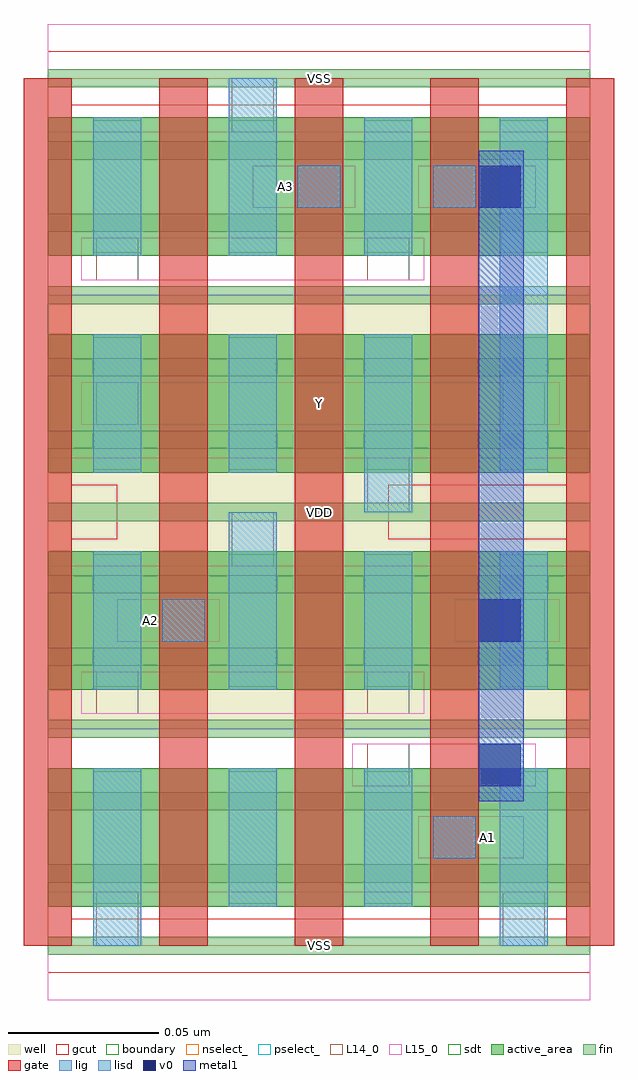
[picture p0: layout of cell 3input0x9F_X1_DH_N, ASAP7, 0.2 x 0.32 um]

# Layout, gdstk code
import gdstk
lib = gdstk.Library(unit=1e-6, precision=1e-09)
def R(c, l, rs):  # rectangles x0, y0, x1, y1
    for r in rs: c.add(gdstk.rectangle(r[:2], r[2:], *l))
def A(c, l, x, y, w, h, nx, ny, dx, dy):  # array of equal rectangles
    R(c, l, [(x+i*dx, y+j*dy, x+i*dx+w, y+j*dy+h) for i in range(nx) for j in range(ny)])
def P(c, l, *ps):  # polygons
    for p in ps: c.add(gdstk.Polygon(p, *l))
well = (1, 0)
fin = (2, 0)
gate = (7, 0)
gcut = (10, 0)
active_area = (11, 0)
nselect_ = (12, 0)
pselect_ = (13, 0)
L14_0 = (14, 0)
L15_0 = (15, 0)
lig = (16, 0)
lisd = (17, 0)
v0 = (18, 0)
metal1 = (19, 0)
sdt = (88, 0)
boundary = (100, 0)

c_3input0x9f_x1_dh_n = lib.new_cell('3input0x9F_X1_DH_N')
R(c_3input0x9f_x1_dh_n, well, [(0,0.072,0.18,0.144), (0,0.144,0.18,0.216)])
A(c_3input0x9f_x1_dh_n, fin, 0, -0.003, 0.18, 0.006, 1, 13, 0, 0.024)
A(c_3input0x9f_x1_dh_n, gate, -0.008, 0, 0.016, 0.288, 5, 1, 0.045, 0)
P(c_3input0x9f_x1_dh_n, gcut, [(0,-0.009),(0,0),(-0.008,0),(-0.008,0.279),(0.008,0.279),(0.008,0.153),(0.023,0.153),(0.023,0.135),(0.008,0.135),(0.008,0.009),(0.172,0.009),(0.172,0.135),(0.113,0.135),(0.113,0.153),(0.172,0.153),(0.172,0.279),(-0.008,0.279),(-0.008,0.288),(0,0.288),(0,0.297),(0.18,0.297),(0.18,0.288),(0.188,0.288),(0.188,0),(0.18,0),(0.18,-0.009)])
A(c_3input0x9f_x1_dh_n, active_area, 0, 0.013, 0.18, 0.046, 1, 4, 0, 0.072)
R(c_3input0x9f_x1_dh_n, nselect_, [(0,0,0.18,0.072), (0,0.216,0.18,0.288)])
R(c_3input0x9f_x1_dh_n, pselect_, [(0,0.072,0.18,0.144), (0,0.144,0.18,0.216)])
R(c_3input0x9f_x1_dh_n, L14_0, [(0.016,0,0.03,0.018), (0.151,0,0.165,0.018), (0.128,0.029,0.142,0.043), (0.106,0.053,0.12,0.067), (0.016,0.077,0.03,0.091), (0.106,0.077,0.12,0.091), (0.038,0.101,0.052,0.115), (0.151,0.101,0.165,0.115), (0.061,0.126,0.075,0.144), (0.106,0.144,0.12,0.162), (0.016,0.173,0.03,0.187), (0.151,0.173,0.165,0.187), (0.016,0.221,0.03,0.235), (0.106,0.221,0.12,0.235), (0.083,0.245,0.097,0.259), (0.128,0.245,0.142,0.259), (0.061,0.27,0.075,0.288)])
A(c_3input0x9f_x1_dh_n, L15_0, 0, -0.018, 0.18, 0.036, 1, 3, 0, 0.144)
R(c_3input0x9f_x1_dh_n, L15_0, [(0.123,0.029,0.158,0.043), (0.101,0.053,0.162,0.067), (0.011,0.077,0.125,0.091), (0.023,0.101,0.057,0.115), (0.135,0.101,0.17,0.115), (0.011,0.173,0.17,0.187), (0.011,0.221,0.125,0.235), (0.068,0.245,0.102,0.259), (0.123,0.245,0.162,0.259)])
R(c_3input0x9f_x1_dh_n, lig, [(0.128,0.029,0.142,0.043), (0.038,0.101,0.052,0.115), (0.083,0.245,0.097,0.259), (0.128,0.245,0.142,0.259)])
A(c_3input0x9f_x1_dh_n, lisd, 0.015, 0.085, 0.016, 0.046, 1, 3, 0, 0.072)
R(c_3input0x9f_x1_dh_n, lisd, [(0.015,0,0.031,0.059), (0.15,0,0.166,0.059), (0.06,0.013,0.076,0.059), (0.105,0.013,0.121,0.059), (0.06,0.085,0.076,0.144), (0.105,0.085,0.121,0.131), (0.15,0.085,0.166,0.131), (0.105,0.144,0.121,0.203), (0.06,0.157,0.076,0.203), (0.15,0.157,0.166,0.275), (0.06,0.229,0.076,0.288), (0.105,0.229,0.121,0.275)])
R(c_3input0x9f_x1_dh_n, v0, [(0.143,0.053,0.157,0.067), (0.143,0.101,0.157,0.115), (0.143,0.245,0.157,0.259)])
R(c_3input0x9f_x1_dh_n, metal1, [(0.143,0.048,0.158,0.264)])
A(c_3input0x9f_x1_dh_n, sdt, 0.015, 0.014, 0.016, 0.044, 4, 4, 0.045, 0.072)
R(c_3input0x9f_x1_dh_n, boundary, [(0,0,0.18,0.288)])
c_3input0x9f_x1_dh_n.add(gdstk.Label('A1', (0.146,0.036), layer=15, texttype=251))
c_3input0x9f_x1_dh_n.add(gdstk.Label('VSS', (0.09,0), layer=15, texttype=251))
c_3input0x9f_x1_dh_n.add(gdstk.Label('VDD', (0.09,0.144), layer=15, texttype=251))
c_3input0x9f_x1_dh_n.add(gdstk.Label('VDD', (0.09,0.144), layer=15, texttype=251))
c_3input0x9f_x1_dh_n.add(gdstk.Label('VSS', (0.09,0.288), layer=15, texttype=251))
c_3input0x9f_x1_dh_n.add(gdstk.Label('Y', (0.09,0.18), layer=15, texttype=251))
c_3input0x9f_x1_dh_n.add(gdstk.Label('VSS', (0.09,0), layer=15, texttype=251))
c_3input0x9f_x1_dh_n.add(gdstk.Label('VDD', (0.09,0.144), layer=15, texttype=251))
c_3input0x9f_x1_dh_n.add(gdstk.Label('VDD', (0.09,0.144), layer=15, texttype=251))
c_3input0x9f_x1_dh_n.add(gdstk.Label('VSS', (0.09,0.288), layer=15, texttype=251))
c_3input0x9f_x1_dh_n.add(gdstk.Label('A3', (0.079,0.252), layer=15, texttype=251))
c_3input0x9f_x1_dh_n.add(gdstk.Label('VSS', (0.09,0), layer=15, texttype=251))
c_3input0x9f_x1_dh_n.add(gdstk.Label('VDD', (0.09,0.144), layer=15, texttype=251))
c_3input0x9f_x1_dh_n.add(gdstk.Label('VDD', (0.09,0.144), layer=15, texttype=251))
c_3input0x9f_x1_dh_n.add(gdstk.Label('VSS', (0.09,0.288), layer=15, texttype=251))
c_3input0x9f_x1_dh_n.add(gdstk.Label('A2', (0.034,0.108), layer=15, texttype=251))
c_3input0x9f_x1_dh_n.add(gdstk.Label('VSS', (0.09,0), layer=15, texttype=251))
c_3input0x9f_x1_dh_n.add(gdstk.Label('VDD', (0.09,0.144), layer=15, texttype=251))
c_3input0x9f_x1_dh_n.add(gdstk.Label('VDD', (0.09,0.144), layer=15, texttype=251))
c_3input0x9f_x1_dh_n.add(gdstk.Label('VSS', (0.09,0.288), layer=15, texttype=251))
c_3input0x9f_x1_dh_n.add(gdstk.Label('VSS', (0.09,0), layer=3, texttype=251))
c_3input0x9f_x1_dh_n.add(gdstk.Label('VSS', (0.09,0.288), layer=3, texttype=251))
c_3input0x9f_x1_dh_n.add(gdstk.Label('VSS', (0.09,0), layer=3, texttype=251))
c_3input0x9f_x1_dh_n.add(gdstk.Label('VSS', (0.09,0.288), layer=3, texttype=251))
c_3input0x9f_x1_dh_n.add(gdstk.Label('VSS', (0.09,0), layer=3, texttype=251))
c_3input0x9f_x1_dh_n.add(gdstk.Label('VSS', (0.09,0.288), layer=3, texttype=251))
c_3input0x9f_x1_dh_n.add(gdstk.Label('VSS', (0.09,0), layer=3, texttype=251))
c_3input0x9f_x1_dh_n.add(gdstk.Label('VSS', (0.09,0.288), layer=3, texttype=251))
c_3input0x9f_x1_dh_n.add(gdstk.Label('VDD', (0.09,0.144), layer=1, texttype=251))
c_3input0x9f_x1_dh_n.add(gdstk.Label('VDD', (0.09,0.144), layer=1, texttype=251))
c_3input0x9f_x1_dh_n.add(gdstk.Label('VDD', (0.09,0.144), layer=1, texttype=251))
c_3input0x9f_x1_dh_n.add(gdstk.Label('VDD', (0.09,0.144), layer=1, texttype=251))
c_3input0x9f_x1_dh_n.add(gdstk.Label('VDD', (0.09,0.144), layer=1, texttype=251))
c_3input0x9f_x1_dh_n.add(gdstk.Label('VDD', (0.09,0.144), layer=1, texttype=251))
c_3input0x9f_x1_dh_n.add(gdstk.Label('VDD', (0.09,0.144), layer=1, texttype=251))
c_3input0x9f_x1_dh_n.add(gdstk.Label('VDD', (0.09,0.144), layer=1, texttype=251))

lib.write_gds('3input0x9F_X1_DH_N.gds')
